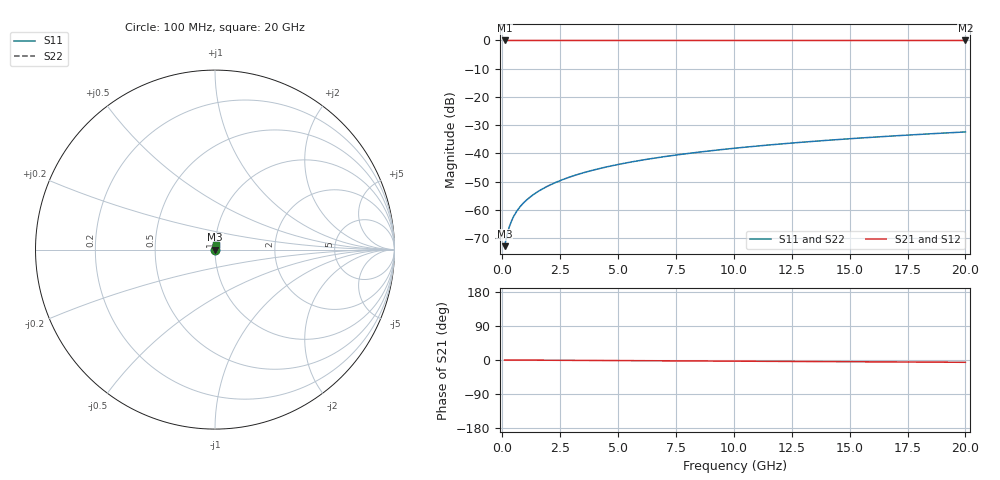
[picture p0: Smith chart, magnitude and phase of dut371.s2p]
! Touchstone file exported from HFSS 2026.1.0
!  File:  C:/ffzhzh/LocalFiles/Ansys_Project_Files/temp_train_TSV_371_1783019556_46388.aedt
!  Generated:  03:14:18 AM Jul  3, 2026
!  Design:  TSV
!  Project:  temp_train_TSV_371_1783019556_46388
! Variables:
!  h_bsmrdl = 2um
!  h_ox = 20um
!  h_rdl = 5um
!  h_sub = 56.24um
!  h_tmrdl = 5um
!  h_tsv = 56.24um
!  h_via = 3um
!  l_bsmrdl = 300um
!  l_sub = 414.22um
!  l_tmrdl = 200um
!  m_sub = 200um
!  pitch = 37.72um
!  r_tsv = 7.11um
!  s_tmrdl = 10um
!  w_bsmrdl = 18um
!  w_sub = 500um
!  w_tmrdl = 12um
!  x_tsv_center1 = 206um
!  x_tsv_center2 = 524um
!  x_tsv_center3 = 736um
!  x_tsv_center4 = 1054um
!  x_tsv_center5 = 1266um
!  x_tsv_center6 = 1584um
# GHz S MA R 50.000000
! Terminal data exported
! Port[1] = TSV1_1_T1
! Port[2] = TSV1_1_T2
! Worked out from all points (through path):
!   200 points, 100 MHz to 20 GHz, reference 50 ohm
!   highest |S21| = 0.00 dB at 100 MHz (marker M1); lowest = 0.0 dB at 20 GHz (marker M2)
!   lowest |S11| = -72.9 dB at 100 MHz (marker M3), VSWR 1.00, Z = 50 + j0.0155 ohm
!   |S11| at or under -10 dB: start of sweep to end of sweep
!   |S22| runs from -72.9 to -32.4 dB; largest |S21 - S12| = 2.5e-15
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0.1  0.0002261 43.3  0.9998 -0.0  0.9998 -0.0  0.0002261 43.3
! Gamma 0 0 0 0
! Port Impedance 50 0 50 0
0.2  0.0003536 60.4  0.9998 -0.1  0.9998 -0.1  0.0003536 60.4
0.3  0.000494 67.5  0.9998 -0.1  0.9998 -0.1  0.000494 67.5
0.4  0.0006349 71.0  0.9998 -0.1  0.9998 -0.1  0.0006349 71.0
0.5  0.0007733 73.0  0.9998 -0.2  0.9998 -0.2  0.0007733 73.0
0.6  0.0009085 74.4  0.9998 -0.2  0.9998 -0.2  0.0009085 74.4
0.7  0.001041 75.3  0.9997 -0.2  0.9997 -0.2  0.001041 75.3
0.8  0.001171 76.1  0.9997 -0.3  0.9997 -0.3  0.001171 76.1
1  0.001425 77.4  0.9997 -0.3  0.9997 -0.3  0.001425 77.4
1.4  0.001925 79.1  0.9996 -0.4  0.9996 -0.4  0.001925 79.1
1.7  0.002298 80.1  0.9996 -0.5  0.9996 -0.5  0.002298 80.1
2  0.002669 80.8  0.9996 -0.6  0.9996 -0.6  0.002669 80.8
2.7  0.003535 81.8  0.9995 -0.8  0.9995 -0.8  0.003535 81.8
3.5  0.004518 82.5  0.9995 -1.1  0.9995 -1.1  0.004518 82.5
4.2  0.005371 82.7  0.9994 -1.3  0.9994 -1.3  0.005371 82.7
5  0.006338 82.9  0.9994 -1.5  0.9994 -1.5  0.006338 82.9
6.8  0.00849 83.1  0.9992 -2.1  0.9992 -2.1  0.00849 83.1
8.3  0.01027 83.0  0.9992 -2.5  0.9992 -2.5  0.01027 83.0
10.1  0.01239 82.9  0.999 -3.1  0.999 -3.1  0.01239 82.9
13.4  0.01626 82.4  0.9989 -4.1  0.9989 -4.1  0.01626 82.4
16.7  0.0201 81.8  0.9987 -5.1  0.9987 -5.1  0.0201 81.8
20  0.02392 81.0  0.9985 -6.1  0.9985 -6.1  0.02392 81.0
